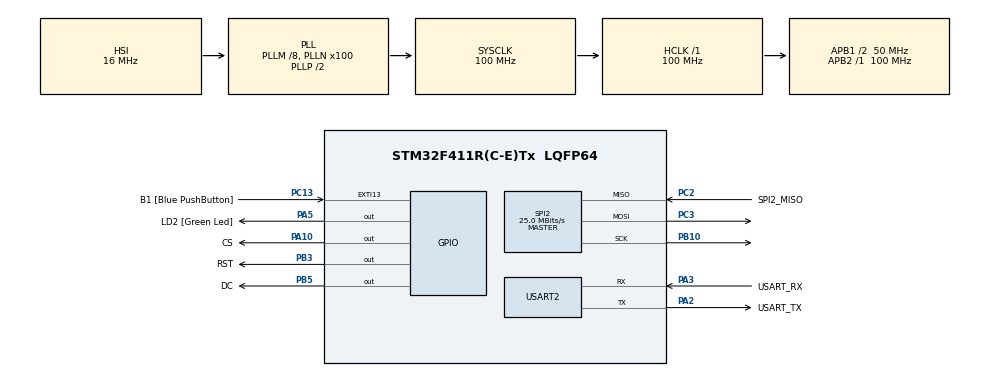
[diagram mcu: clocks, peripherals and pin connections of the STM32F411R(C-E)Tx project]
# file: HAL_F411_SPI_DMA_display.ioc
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Dma.Request0=SPI2_TX
Dma.SPI2_TX.0.Direction=DMA_MEMORY_TO_PERIPH
Dma.SPI2_TX.0.FIFOMode=DMA_FIFOMODE_DISABLE
Dma.SPI2_TX.0.Instance=DMA1_Stream4
Dma.SPI2_TX.0.MemDataAlignment=DMA_MDATAALIGN_BYTE
Dma.SPI2_TX.0.MemInc=DMA_MINC_ENABLE
Dma.SPI2_TX.0.Mode=DMA_NORMAL
Dma.SPI2_TX.0.PeriphDataAlignment=DMA_PDATAALIGN_BYTE
Dma.SPI2_TX.0.PeriphInc=DMA_PINC_DISABLE
Dma.SPI2_TX.0.Priority=DMA_PRIORITY_LOW
Mcu.Family=STM32F4
Mcu.Name=STM32F411R(C-E)Tx
Mcu.Package=LQFP64
NVIC.DMA1_Stream4_IRQn=true\:0\:0\:false\:false\:true\:false\:true
NVIC.PriorityGroup=NVIC_PRIORITYGROUP_0
NVIC.SPI2_IRQn=true\:0\:0\:false\:false\:true\:true\:true
PA10.GPIO_Label=CS
PA10.Signal=GPIO_Output
PA13.GPIO_Label=TMS
PA13.Mode=Serial_Wire
PA13.Signal=SYS_JTMS-SWDIO
PA14.GPIO_Label=TCK
PA14.Mode=Serial_Wire
PA14.Signal=SYS_JTCK-SWCLK
PA2.GPIO_Label=USART_TX
PA2.Mode=Asynchronous
PA2.Signal=USART2_TX
PA3.GPIO_Label=USART_RX
PA3.Mode=Asynchronous
PA3.Signal=USART2_RX
PA5.GPIO_Label=LD2 [Green Led]
PA5.GPIO_Speed=GPIO_SPEED_FREQ_LOW
PA5.Signal=GPIO_Output
PB10.Mode=Full_Duplex_Master
PB10.Signal=SPI2_SCK
PB3.GPIO_Label=RST
PB3.Signal=GPIO_Output
PB5.GPIO_Label=DC
PB5.Signal=GPIO_Output
PC13-ANTI_TAMP.GPIO_Label=B1 [Blue PushButton]
PC13-ANTI_TAMP.GPIO_ModeDefaultEXTI=GPIO_MODE_IT_FALLING
PC13-ANTI_TAMP.Signal=GPXTI13
PC14-OSC32_IN.Mode=LSE-External-Oscillator
PC14-OSC32_IN.Signal=RCC_OSC32_IN
PC15-OSC32_OUT.Mode=LSE-External-Oscillator
PC15-OSC32_OUT.Signal=RCC_OSC32_OUT
PC2.GPIO_Label=SPI2_MISO
PC2.Mode=Full_Duplex_Master
PC2.Signal=SPI2_MISO
PC3.Mode=Full_Duplex_Master
PC3.Signal=SPI2_MOSI
PH0\ -\ OSC_IN.Mode=HSE-External-Clock-Source
PH0\ -\ OSC_IN.Signal=RCC_OSC_IN
PH1\ -\ OSC_OUT.Mode=HSE-External-Clock-Source
PH1\ -\ OSC_OUT.Signal=RCC_OSC_OUT
ProjectManager.HeapSize=0x200
ProjectManager.StackSize=0x400
ProjectManager.TargetToolchain=STM32CubeIDE
RCC.48MHZClocksFreq_Value=50000000
RCC.AHBFreq_Value=100000000
RCC.APB1CLKDivider=RCC_HCLK_DIV2
RCC.APB1Freq_Value=50000000
RCC.APB1TimFreq_Value=100000000
RCC.APB2Freq_Value=100000000
RCC.APB2TimFreq_Value=100000000
RCC.CortexFreq_Value=100000000
RCC.FLatency-AdvancedSettings=FLASH_LATENCY_3
RCC.HCLKFreq_Value=100000000
RCC.HSE_VALUE=8000000
RCC.HSI_VALUE=16000000
RCC.PLLM=8
RCC.PLLN=100
RCC.SYSCLKFreq_VALUE=100000000
RCC.SYSCLKSource=RCC_SYSCLKSOURCE_PLLCLK
RCC.VCOOutputFreq_Value=200000000
SPI2.BaudRatePrescaler=SPI_BAUDRATEPRESCALER_2
SPI2.CalculateBaudRate=25.0 MBits/s
SPI2.Direction=SPI_DIRECTION_2LINES
SPI2.Mode=SPI_MODE_MASTER
SPI2.VirtualType=VM_MASTER
TIM1.Period=65535
TIM1.Prescaler=10000
USART2.VirtualMode=VM_ASYNC
VP_TIM1_VS_ClockSourceINT.Mode=Internal
board=NUCLEO-F411RE

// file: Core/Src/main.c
/* USER CODE BEGIN Header */
/**
 ******************************************************************************
 * @file           : main.c
 * @brief          : Main program body
 ******************************************************************************
 * @attention
 *
 * <h2><center>&copy; Copyright (c) 2020 STMicroelectronics.
 * All rights reserved.</center></h2>
 *
 * This software component is licensed by ST under BSD 3-Clause license,
 * the "License"; You may not use this file except in compliance with the
 * License. You may obtain a copy of the License at:
 *                        opensource.org/licenses/BSD-3-Clause
 *
 ******************************************************************************
 */
/* USER CODE END Header */

#include "main.h"
#include "dma.h"
#include "spi.h"
#include "tim.h"
#include "usart.h"
#include "gpio.h"

/* USER CODE BEGIN Includes */
#include <stdio.h>
#include "./ILI9341_DMA_library/ILI9341_DMA_driver.h"
#include "./ILI9341_DMA_library/ILI9341_GFX.h"

//include Adafruit fonts
#include "./ILI9341_DMA_library/fonts/FreeMono12pt7b.h"
#include "./ILI9341_DMA_library/fonts/FreeSerifBold24pt7b.h"

//include bitmaps
#include "ILI9341_DMA_library/bitmaps/palette.h"
#include "ILI9341_DMA_library/bitmaps/settings_active.h"
#include "ILI9341_DMA_library/bitmaps/telemetry_active.h"
#include "ILI9341_DMA_library/bitmaps/calibration_active.h"

/* USER CODE END Includes */

/* USER CODE BEGIN PV */
volatile uint8_t SPI2_TX_completed_flag = 1;    //flag indicating finish of SPI transmission
/* USER CODE END PV */

void SystemClock_Config(void);

/* USER CODE BEGIN 0 */

//printf for serial port
int _write(int file, char *ptr, int len)
{
	HAL_UART_Transmit(&huart2, (uint8_t*) ptr, len, 50);
	return len;
}

//SPI transmission finished interrupt callback
void HAL_SPI_TxCpltCallback(SPI_HandleTypeDef *hspi)
{
	SPI2_TX_completed_flag = 1;
}
/* USER CODE END 0 */

int main(void)
{

  /* MCU Configuration--------------------------------------------------------*/

  /* Reset of all peripherals, Initializes the Flash interface and the Systick. */
  HAL_Init();

  /* Configure the system clock */
  SystemClock_Config();

  /* Initialize all configured peripherals */
  MX_GPIO_Init();
  MX_DMA_Init();
  MX_SPI2_Init();
  MX_USART2_UART_Init();
  MX_TIM1_Init();
  /* USER CODE BEGIN 2 */

  ILI9341_Init();

  /* USER CODE END 2 */

  /* Infinite loop */
  /* USER CODE BEGIN WHILE */
	while (1)
	{
		//----------------------------------------------------------PERFORMANCE TEST
		ILI9341_Set_Rotation(SCREEN_HORIZONTAL_2);
		uint32_t Timer_Counter = 0;
		for (uint32_t j = 0; j < 2; j++)
		{
			HAL_TIM_Base_Start(&htim1);
			for (uint16_t i = 0; i < 10; i++)
			{
				ILI9341_Fill_Screen(BLUE);
				ILI9341_Fill_Screen(YELLOW);
			}
		}

		HAL_TIM_Base_Stop(&htim1);
		Timer_Counter += __HAL_TIM_GET_COUNTER(&htim1);
		__HAL_TIM_SET_COUNTER(&htim1, 0);

		Timer_Counter /= 2;

		char counter_buff[30];
		ILI9341_Fill_Screen(WHITE);

		double seconds_passed = 2 * ((float) Timer_Counter / 20000);
		sprintf(counter_buff, "Time: %.3f Sec", seconds_passed);
		printf("%s\n", counter_buff);
		ILI9341_Draw_Text(counter_buff, 10, 30, BLACK, 2, WHITE);

		double timer_float = 20 / (((float) Timer_Counter) / 20000);//Frames per sec

		sprintf(counter_buff, "FPS:  %.2f", timer_float);
		printf("%s\n", counter_buff);
		ILI9341_Draw_Text(counter_buff, 10, 50, BLACK, 2, WHITE);
		double MB_PS = timer_float * 240 * 320 * 2 / 1000000;
		sprintf(counter_buff, "MB/S: %.2f", MB_PS);
		printf("%s\n", counter_buff);
		ILI9341_Draw_Text(counter_buff, 10, 70, BLACK, 2, WHITE);
		double SPI_utilized_percentage = (MB_PS / (6.25)) * 100;//50mbits / 8 bits
		sprintf(counter_buff, "SPI Utilized: %.2f", SPI_utilized_percentage);
		printf("%s\n", counter_buff);
		ILI9341_Draw_Text(counter_buff, 10, 90, BLACK, 2, WHITE);
		HAL_Delay(5000);

		//--------------------------------------------------------- DRAW FULL SCREEN BITMAP
		ILI9341_Draw_Image((uint8_t*)palette, 0, 0, 320, 240);
		HAL_Delay(5000);

		//--------------------------------------------------------- DRAW SMALL BITMAPS

		ILI9341_Fill_Screen(BLACK);
		ILI9341_Draw_Image((uint8_t*)calibration_active, 0, 0, 45, 45);
		ILI9341_Draw_Image((uint8_t*)settings_active, 45, 45, 45, 45);
		ILI9341_Draw_Image((uint8_t*)telemetry_active, 90, 90, 45, 45);
		HAL_Delay(5000);

		//--------------------------------------------------------- DRAW SOME TEXT WITH ADAFRUIT FONT
		ILI9341_Fill_Screen(BLACK);
		ILI9341_set_adafruit_font(&FreeSerifBold24pt7b);
		ILI9341_Draw_TextFont("J.R.R. Tolkien", 10, 40, YELLOW, 1, BLACK);
		ILI9341_Draw_TextFont("\"The Hobbit\"", 15, 100, YELLOW, 1, BLACK);

		HAL_Delay(3000);
		//--------------------------------------------------------- DRAW SOME TEXT WITH ADAFRUIT FONT
		ILI9341_Fill_Screen(BLACK);
		ILI9341_set_adafruit_font(&FreeMono12pt7b);

		ILI9341_Draw_TextFont("In a hole in the ground", 0, 20, YELLOW, 1, BLACK);
		ILI9341_Draw_TextFont("there lived a hobbit.", 0, 40, YELLOW, 1, BLACK);
		ILI9341_Draw_TextFont("Not a nasty, dirty, wet", 0, 60, YELLOW, 1, BLACK);
		ILI9341_Draw_TextFont("hole, filled with the", 0, 80, YELLOW, 1, BLACK);
		ILI9341_Draw_TextFont("ends of worms and an", 0, 100, YELLOW, 1, BLACK);
		ILI9341_Draw_TextFont("ozzy smell, nor yet a", 0, 120, YELLOW, 1, BLACK);
		ILI9341_Draw_TextFont("dry, bare, sandy hole ", 0, 140, YELLOW, 1, BLACK);
		ILI9341_Draw_TextFont("with nothing to sit", 0, 160, YELLOW, 1, BLACK);
		ILI9341_Draw_TextFont("down on or to eat: it", 0, 180, YELLOW, 1, BLACK);
		ILI9341_Draw_TextFont("was a hobbit-hole, and ", 0, 200, YELLOW, 1, BLACK);
		ILI9341_Draw_TextFont("that means comfort.", 0, 220, YELLOW, 1, BLACK);

		HAL_Delay(15000);

    /* USER CODE END WHILE */

	}
}

void SystemClock_Config(void)
{
  RCC_OscInitTypeDef RCC_OscInitStruct = {0};
  RCC_ClkInitTypeDef RCC_ClkInitStruct = {0};

  /** Configure the main internal regulator output voltage
  */
  __HAL_RCC_PWR_CLK_ENABLE();
  __HAL_PWR_VOLTAGESCALING_CONFIG(PWR_REGULATOR_VOLTAGE_SCALE1);
  /** Initializes the CPU, AHB and APB busses clocks
  */
  RCC_OscInitStruct.OscillatorType = RCC_OSCILLATORTYPE_HSI;
  RCC_OscInitStruct.HSIState = RCC_HSI_ON;
  RCC_OscInitStruct.HSICalibrationValue = RCC_HSICALIBRATION_DEFAULT;
  RCC_OscInitStruct.PLL.PLLState = RCC_PLL_ON;
  RCC_OscInitStruct.PLL.PLLSource = RCC_PLLSOURCE_HSI;
  RCC_OscInitStruct.PLL.PLLM = 8;
  RCC_OscInitStruct.PLL.PLLN = 100;
  RCC_OscInitStruct.PLL.PLLP = RCC_PLLP_DIV2;
  RCC_OscInitStruct.PLL.PLLQ = 4;
  if (HAL_RCC_OscConfig(&RCC_OscInitStruct) != HAL_OK)
  {
    Error_Handler();
  }
  /** Initializes the CPU, AHB and APB busses clocks
  */
  RCC_ClkInitStruct.ClockType = RCC_CLOCKTYPE_HCLK|RCC_CLOCKTYPE_SYSCLK
                              |RCC_CLOCKTYPE_PCLK1|RCC_CLOCKTYPE_PCLK2;
  RCC_ClkInitStruct.SYSCLKSource = RCC_SYSCLKSOURCE_PLLCLK;
  RCC_ClkInitStruct.AHBCLKDivider = RCC_SYSCLK_DIV1;
  RCC_ClkInitStruct.APB1CLKDivider = RCC_HCLK_DIV2;
  RCC_ClkInitStruct.APB2CLKDivider = RCC_HCLK_DIV1;

  if (HAL_RCC_ClockConfig(&RCC_ClkInitStruct, FLASH_LATENCY_3) != HAL_OK)
  {
    Error_Handler();
  }
}

void Error_Handler(void)
{
}

/************************ (C) COPYRIGHT STMicroelectronics *****END OF FILE****/
